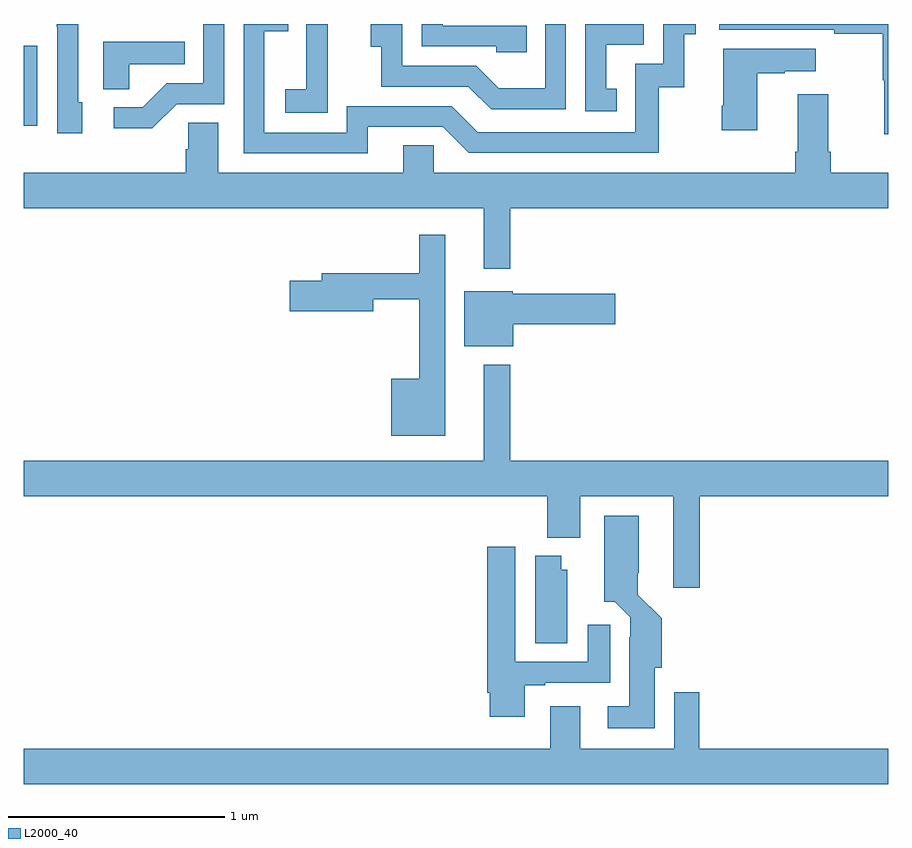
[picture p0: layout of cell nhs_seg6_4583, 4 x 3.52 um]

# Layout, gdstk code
import gdstk
lib = gdstk.Library(unit=1e-6, precision=1e-09)
def R(c, l, rs):  # rectangles x0, y0, x1, y1
    for r in rs: c.add(gdstk.rectangle(r[:2], r[2:], *l))
def P(c, l, *ps):  # polygons
    for p in ps: c.add(gdstk.Polygon(p, *l))
L2000_40 = (2000, 40)

nhs_seg6_4583 = lib.new_cell('nhs_seg6_4583')
R(nhs_seg6_4583, L2000_40, [(381,969.03,381.063,969.4)])
P(nhs_seg6_4583, L2000_40, [(381.271,969.138),(381.252,969.138),(381.252,969.5),(381.154,969.5),(381.154,969.487),(381.156,969.487),(381.156,968.994),(381.271,968.994)],
  [(383.744,969.201),(383.695,969.201),(383.695,969.405),(383.868,969.405),(383.868,969.5),(383.598,969.5),(383.598,969.096),(383.744,969.096)],
  [(385,969.5),(384.219,969.5),(384.219,969.474),(384.751,969.474),(384.751,969.454),(384.975,969.454),(384.975,969.24),(384.982,969.24),(384.982,968.991),(385,968.991)],
  [(381.708,969.129),(381.927,969.129),(381.927,969.5),(381.831,969.5),(381.831,969.225),(381.662,969.225),(381.551,969.114),(381.417,969.114),(381.417,969.017),(381.595,969.017)],
  [(382.591,969.024),(382.938,969.024),(383.058,968.904),(383.938,968.904),(383.938,969.207),(384.056,969.207),(384.056,969.453),(384.109,969.453),(384.109,969.5),(383.958,969.5),(383.958,969.315),(383.829,969.315),(383.829,969),(383.1,969),(382.98,969.12),(382.494,969.12),(382.494,968.997),(382.113,968.997),(382.113,969.466),(382.223,969.466),(382.223,969.5),(382.017,969.5),(382.017,968.901),(382.591,968.901)],
  [(383.508,969.5),(383.412,969.5),(383.412,969.202),(383.198,969.202),(383.094,969.306),(382.752,969.306),(382.752,969.5),(382.605,969.5),(382.605,969.395),(382.654,969.395),(382.654,969.21),(383.057,969.21),(383.162,969.105),(383.508,969.105)],
  [(382.407,969.295),(382.406,969.295),(382.406,969.5),(382.308,969.5),(382.308,969.428),(382.307,969.428),(382.307,969.199),(382.209,969.199),(382.209,969.089),(382.407,969.089)],
  [(383.327,969.492),(382.938,969.492),(382.938,969.5),(382.842,969.5),(382.842,969.396),(383.187,969.396),(383.187,969.369),(383.327,969.369)],
  [(381.489,969.314),(381.746,969.314),(381.746,969.418),(381.368,969.418),(381.368,969.199),(381.489,969.199)],
  [(384.394,969.271),(384.521,969.271),(384.521,969.281),(384.664,969.281),(384.664,969.385),(384.236,969.385),(384.236,969.121),(384.229,969.121),(384.229,969.009),(384.394,969.009)],
  [(383.251,968.648),(385,968.648),(385,968.812),(384.734,968.812),(384.734,968.908),(384.721,968.908),(384.721,969.175),(384.581,969.175),(384.581,968.908),(384.569,968.908),(384.569,968.812),(382.896,968.812),(382.896,968.939),(382.757,968.939),(382.757,968.812),(381.901,968.812),(381.901,969.044),(381.762,969.044),(381.762,968.921),(381.749,968.921),(381.749,968.812),(381,968.812),(381,968.648),(383.129,968.648),(383.129,968.367),(383.251,968.367)],
  [(382.951,968.524),(382.83,968.524),(382.83,968.347),(382.379,968.347),(382.379,968.313),(382.23,968.313),(382.23,968.171),(382.618,968.171),(382.618,968.226),(382.83,968.226),(382.83,967.858),(382.7,967.858),(382.7,967.595),(382.951,967.595)],
  [(383.266,968.111),(383.737,968.111),(383.737,968.253),(383.262,968.253),(383.262,968.263),(383.039,968.263),(383.039,968.009),(383.266,968.009)],
  [(384.128,967.316),(385,967.316),(385,967.48),(383.251,967.48),(383.251,967.924),(383.129,967.924),(383.129,967.48),(381,967.48),(381,967.316),(383.423,967.316),(383.423,967.124),(383.575,967.124),(383.575,967.316),(384.005,967.316),(384.005,966.891),(384.128,966.891)],
  [(383.92,966.522),(383.951,966.522),(383.951,966.75),(383.841,966.859),(383.841,966.958),(383.845,966.958),(383.845,967.225),(383.687,967.225),(383.687,966.826),(383.735,966.826),(383.805,966.756),(383.805,966.662),(383.801,966.662),(383.801,966.343),(383.703,966.343),(383.703,966.242),(383.92,966.242)],
  [(383.317,966.441),(383.413,966.441),(383.413,966.453),(383.713,966.453),(383.713,966.721),(383.609,966.721),(383.609,966.549),(383.275,966.549),(383.275,967.081),(383.144,967.081),(383.144,966.406),(383.156,966.406),(383.156,966.294),(383.317,966.294)],
  [(383.515,966.975),(383.488,966.975),(383.488,967.039),(383.366,967.039),(383.366,966.634),(383.515,966.634)],
  [(385,966.148),(384.125,966.148),(384.125,966.409),(384.009,966.409),(384.009,966.148),(383.575,966.148),(383.575,966.343),(383.435,966.343),(383.435,966.148),(381,966.148),(381,965.984),(385,965.984)])

lib.write_gds('nhs_seg6_4583.gds')
